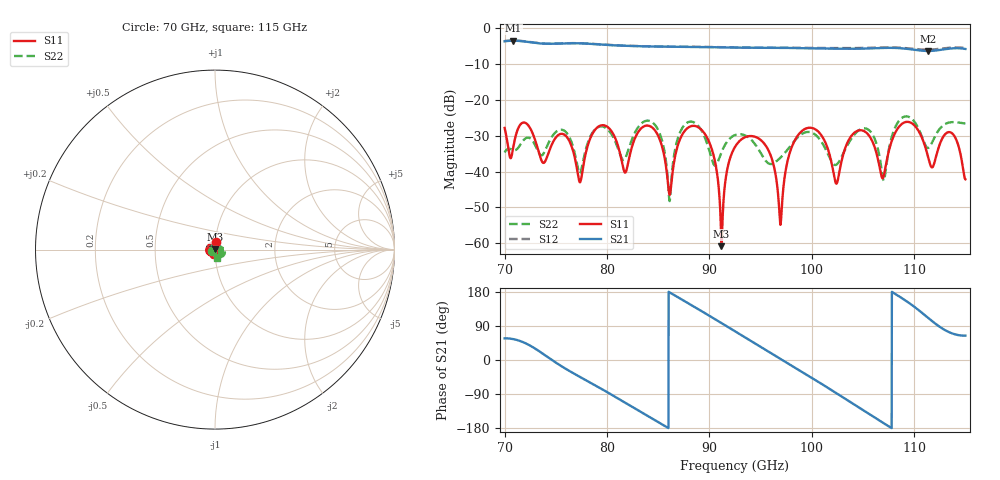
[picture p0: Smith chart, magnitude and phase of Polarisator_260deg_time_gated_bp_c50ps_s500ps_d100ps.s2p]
# Hz S RI R 1.000000
! Metas.Vna.Tools, 2.4.7898.19887
! Metas.Vna.Data, 2.4.7898.19873
! Created: UTC 2021.09.30 14:31:00
! FREQ  re:S1,1  im:S1,1  re:S2,1  im:S2,1  re:S1,2  im:S1,2  re:S2,2  im:S2,2
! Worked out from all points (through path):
!   2251 points, 70 GHz to 115 GHz, reference 1 ohm
!   highest |S21| = -3.57 dB at 70.84 GHz (marker M1); lowest = -6.4 dB at 111.4 GHz (marker M2)
!   lowest |S11| = -60.8 dB at 91.18 GHz (marker M3), VSWR 1.00, Z = 1 + j0.00181 ohm
!   |S11| at or under -10 dB: start of sweep to end of sweep
!   |S22| runs from -48.2 to -24.6 dB; largest |S21 - S12| = 0.1
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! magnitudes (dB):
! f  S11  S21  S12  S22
! 70 GHz  -27.9  -3.7  -3.7  -34.7
! 70.84 GHz  -33.3  -3.6  -3.5  -34.0
! 75.74 GHz  -29.6  -4.3  -4.3  -28.5
! 77.5 GHz  -41.6  -4.3  -4.3  -39.4
! 79.24 GHz  -27.3  -4.6  -4.6  -27.5
! 81.76 GHz  -40.3  -5.0  -4.9  -36.4
! 85 GHz  -30.1  -5.2  -5.2  -28.4
! 86.12 GHz  -46.5  -5.2  -5.2  -48.2
! 87.38 GHz  -29.6  -5.3  -5.2  -27.7
! 89.42 GHz  -29.0  -5.3  -5.3  -29.6
! 91.18 GHz  -60.8  -5.4  -5.4  -34.6
! 92.5 GHz  -33.1  -5.5  -5.4  -29.8
! 95.44 GHz  -32.5  -5.5  -5.5  -36.8
! 96.94 GHz  -54.8  -5.6  -5.5  -36.1
! 98.04 GHz  -33.2  -5.6  -5.5  -32.4
! 100 GHz  -27.8  -5.7  -5.6  -29.2
! 102.4 GHz  -43.4  -5.8  -5.6  -38.1
! 104.4 GHz  -28.8  -5.8  -5.6  -29.1
! 107.5 GHz  -34.6  -5.6  -5.4  -34.2
! 111.4 GHz  -36.0  -6.4  -6.0  -33.4
! 113.6 GHz  -29.1  -5.7  -5.5  -26.3
! 115 GHz  -42.1  -5.9  -5.6  -26.6
